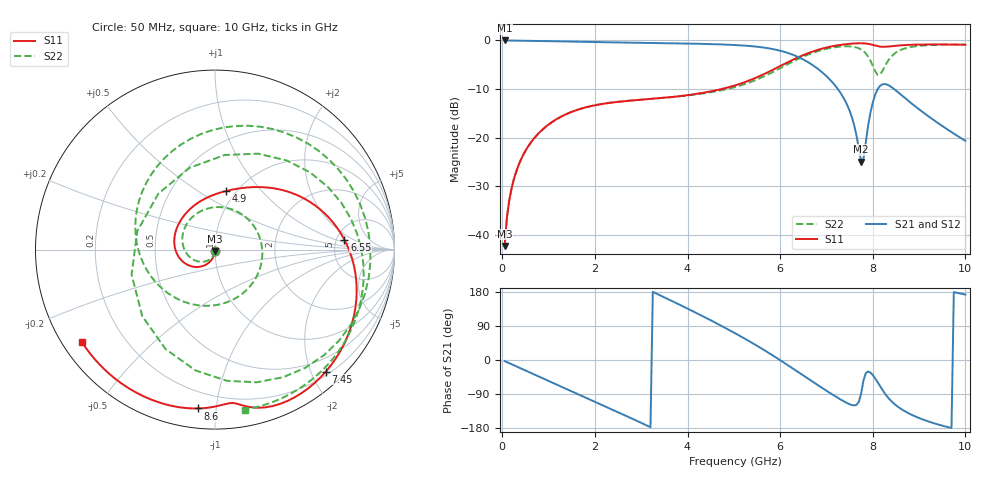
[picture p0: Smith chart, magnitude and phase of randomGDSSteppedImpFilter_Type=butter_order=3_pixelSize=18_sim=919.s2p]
! freq	dB(S11)	phase(S11)	dB(S12)	phase(S12)
!  dB(S21)	phase(S21)	dB(S22)	phase(S22)
!S-par simulation data
#  GHz  S  DB  R 50
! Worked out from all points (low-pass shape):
!   200 points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, 50 MHz to 10 GHz, reference 50 ohm
!   highest |S21| = 0.00 dB at 50 MHz (marker M1); lowest = -24.9 dB at 7.75 GHz (marker M2)
!   |S21| within 3 dB of the highest: start of sweep to 6.29 GHz
!   lowest |S11| = -42.3 dB at 50 MHz (marker M3), VSWR 1.02, Z = 50 - j0.766 ohm
!   |S11| at or under -10 dB: start of sweep to 4.735 GHz
!   |S22| runs from -42.3 to -0.8 dB; largest |S21 - S12| = 0
!   S11 on the Smith chart (normalised r, x): 50 MHz: 1.00, -0.02; 4.9 GHz: 0.90, +0.66; 6.55 GHz: 5.89, +1.37; 7.45 GHz: 0.26, -2.24; 8.6 GHz: 0.10, -0.89; 10 GHz: 0.06, -0.31
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0.05  -42.31 -90.8  -0.00 -2.8  -0.00 -2.8  -42.34 -92.0
0.2  -30.46 -98.7  -0.02 -11.2  -0.02 -11.2  -30.49 -103.0
0.5  -22.72 -112.7  -0.06 -27.7  -0.06 -27.7  -22.74 -123.6
1.75  -13.91 -165.7  -0.29 -96.3  -0.29 -96.3  -13.91 151.3
2.65  -12.49 161.0  -0.43 -146.1  -0.43 -146.1  -12.48 85.2
3.4  -11.89 134.9  -0.54 171.1  -0.54 171.1  -11.89 26.1
4.25  -10.91 104.3  -0.69 120.4  -0.69 120.4  -11.02 -43.9
4.9  -9.60 79.7  -0.89 79.1  -0.89 79.1  -9.90 -102.1
5.05  -9.18 74.1  -0.96 69.1  -0.96 69.1  -9.54 -116.6
5.9  -5.76 39.1  -1.89 7.5  -1.89 7.5  -6.21 152.8
6.55  -2.82 4.4  -4.18 -45.0  -4.18 -45.0  -3.12 80.6
6.7  -2.29 -4.4  -5.06 -57.3  -5.06 -57.3  -2.56 64.5
7.1  -1.25 -27.9  -8.32 -88.9  -8.32 -88.9  -1.52 22.4
7.45  -0.74 -47.7  -13.34 -113.9  -13.34 -113.9  -1.20 -16.5
7.75  -0.58 -64.3  -24.93 -87.9  -24.93 -87.9  -1.87 -61.9
7.9  -0.70 -72.4  -17.52 -30.4  -17.52 -30.4  -3.33 -99.2
8.05  -1.05 -79.3  -11.22 -48.3  -11.22 -48.3  -6.28 -163.3
8.2  -1.31 -83.5  -9.06 -77.5  -9.06 -77.5  -6.42 107.1
8.35  -1.24 -87.5  -9.28 -101.9  -9.28 -101.9  -3.91 51.1
8.6  -1.01 -96.1  -11.09 -128.3  -11.09 -128.3  -1.97 6.2
9.2  -0.83 -117.9  -15.60 -162.1  -15.60 -162.1  -0.97 -42.3
10  -0.89 -145.4  -20.66 172.7  -20.66 172.7  -0.85 -79.4
